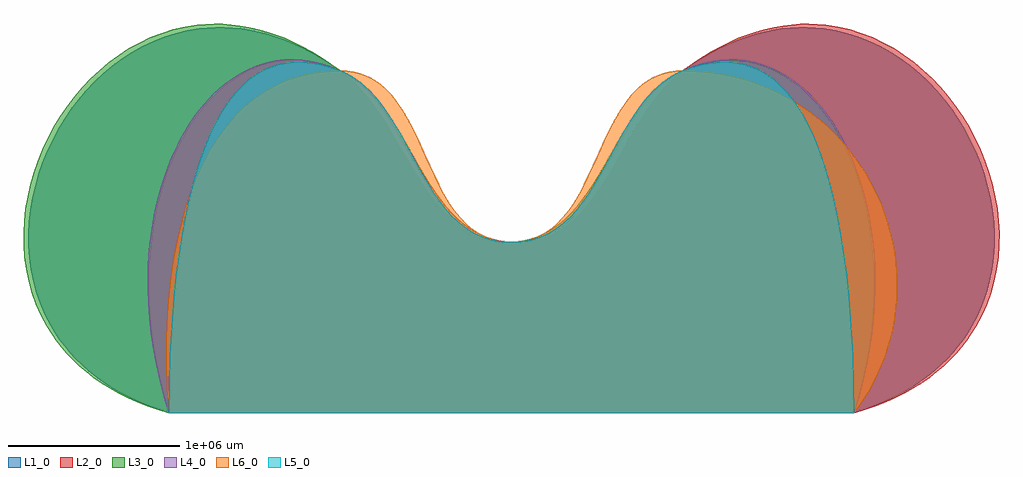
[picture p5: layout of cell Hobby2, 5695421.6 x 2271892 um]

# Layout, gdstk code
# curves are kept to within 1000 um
import gdstk
lib = gdstk.Library(unit=1e-6, precision=1e-07)
def P(c, l, *ps):  # polygons
    for p in ps: c.add(gdstk.Polygon(p, *l))
L1_0 = (1, 0)
L2_0 = (2, 0)
L3_0 = (3, 0)
L4_0 = (4, 0)
L5_0 = (5, 0)
L6_0 = (6, 0)

hobby2 = lib.new_cell('Hobby2')
P(hobby2, L1_0, [(0,0),(-62580.6,20590.8),(-122410.8,42992.5),(-179523.3,67139.6),(-233950.8,92966.9),(-285726,120409),(-334881.4,149400.4),(-381449.9,179876),(-425464,211770.3),(-466956.5,245017.9),(-505960,279553.6),(-542507.3,315311.9),(-576630.9,352227.5),(-608363.6,390235),(-637738,429269.2),(-664786.9,469264.5),(-689542.8,510155.8),(-722449.1,573029.5),(-750380.1,637551.3),(-773446.1,703500.6),(-791757.5,770656.9),(-805424.6,838799.6),(-814557.6,907708.2),(-819266.7,977161.9),(-819662.4,1046940.4),(-815854.9,1116823),(-807954.4,1186589.1),(-796071.3,1256018.2),(-780315.8,1324889.6),(-760798.2,1392982.9),(-737628.9,1460077.4),(-710918,1525952.6),(-680775.9,1590388),(-647312.9,1653162.8),(-610639.3,1714056.6),(-570865.2,1772848.8),(-528101.2,1829318.9),(-482457.3,1883246.1),(-434043.9,1934410.1),(-382971.3,1982590.1),(-329349.8,2027565.7),(-273289.6,2069116.2),(-214901.1,2107021.1),(-154294.5,2141059.9),(-91580.1,2171011.9),(-26868.2,2196656.5),(39730.9,2217773.3),(108107,2234141.6),(178149.7,2245540.8),(225716.2,2250270.8),(273941.8,2252628.9),(322793.8,2252549.9),(372239.5,2249968.2),(422246.1,2244818.7),(472781.1,2237035.9),(523811.7,2226554.5),(575305.4,2213309),(627229.3,2197234.3),(679550.8,2178264.9),(732237.3,2156335.4),(785256,2131380.5),(838574.3,2103334.9),(892159.5,2072133.2),(945979,2037710),(1000000,2000000),(1056758.7,1953952.9),(1109274.3,1902358.7),(1158135.4,1846072.5),(1203930.6,1785949.5),(1268162.6,1690441.8),(1447280.9,1392528.8),(1509082.9,1299048.6),(1541494.4,1255024),(1575244,1213290.9),(1610579.8,1174209.8),(1647750.4,1138141.7),(1687004,1105447.3),(1728588.9,1076487.4),(1757730,1059433.6),(1788091.1,1044306.9),(1819745.9,1031214.1),(1852768,1020262.1),(1887230.8,1011557.8),(1923208.1,1005208),(1960773.3,1001319.8),(2000000,1000000),(2039226.7,1001319.8),(2076791.9,1005208),(2112769.2,1011557.8),(2147232,1020262.1),(2180254.1,1031214.1),(2211908.9,1044306.9),(2242270,1059433.6),(2271411.1,1076487.4),(2312996,1105447.3),(2352249.6,1138141.7),(2389420.2,1174209.8),(2424756,1213290.9),(2458505.6,1255024),(2490917.1,1299048.6),(2552719.1,1392528.8),(2731837.4,1690441.8),(2796069.4,1785949.5),(2841864.6,1846072.5),(2890725.7,1902358.7),(2943241.3,1953952.9),(3000000,2000000),(3054021,2037710),(3107840.5,2072133.2),(3161425.7,2103334.9),(3214744,2131380.5),(3267762.7,2156335.4),(3320449.2,2178264.9),(3372770.7,2197234.3),(3424694.6,2213309),(3476188.3,2226554.5),(3527218.9,2237035.9),(3577753.9,2244818.7),(3627760.5,2249968.2),(3677206.2,2252549.9),(3726058.2,2252628.9),(3774283.8,2250270.8),(3821850.3,2245540.8),(3891893,2234141.6),(3960269.1,2217773.3),(4026868.2,2196656.5),(4091580.1,2171011.9),(4154294.5,2141059.9),(4214901.1,2107021.1),(4273289.6,2069116.2),(4329349.8,2027565.7),(4382971.3,1982590.1),(4434043.9,1934410.1),(4482457.3,1883246.1),(4528101.2,1829318.9),(4570865.2,1772848.8),(4610639.3,1714056.6),(4647312.9,1653162.8),(4680775.9,1590388),(4710918,1525952.6),(4737628.9,1460077.4),(4760798.2,1392982.9),(4780315.8,1324889.6),(4796071.3,1256018.2),(4807954.4,1186589.1),(4815854.9,1116823),(4819662.4,1046940.4),(4819266.7,977161.9),(4814557.6,907708.2),(4805424.6,838799.6),(4791757.5,770656.9),(4773446.1,703500.6),(4750380.1,637551.3),(4722449.1,573029.5),(4689542.8,510155.8),(4664786.9,469264.5),(4637738,429269.2),(4608363.6,390235),(4576630.9,352227.5),(4542507.3,315311.9),(4505960,279553.6),(4466956.5,245017.9),(4425464,211770.3),(4381449.9,179876),(4334881.4,149400.4),(4285726,120409),(4233950.8,92966.9),(4179523.3,67139.6),(4122410.8,42992.5),(4062580.6,20590.8),(4000000,0)])
P(hobby2, L2_0, [(0,0),(-27405.7,93919),(-50998.1,187049.5),(-70866.1,279275.9),(-87098.7,370482.6),(-99784.6,460554.1),(-109012.8,549374.8),(-114872.2,636829.1),(-117451.5,722801.6),(-115365,848729.1),(-106398.5,970672.2),(-90851.8,1088241.2),(-69025.1,1201045.9),(-41218.2,1308696.3),(-7731.1,1410802.5),(11048.7,1459654.6),(52493.7,1552713.2),(75083.7,1596822.1),(123811.6,1679955.6),(149874.4,1718882.6),(205210.3,1791213.4),(234408.5,1824519.7),(264576.7,1855854.9),(295677.5,1885170.4),(327673.4,1912417.3),(360527,1937546.8),(394200.7,1960510.3),(428657,1981259),(463858.5,1999744.2),(499767.6,2015917),(536346.8,2029728.7),(573558.7,2041130.7),(624093.9,2052500.4),(675598.2,2059383.8),(727982.9,2061665.3),(781159,2059229.3),(835037.6,2051960.4),(889529.9,2039742.9),(944547,2022461.3),(1000000,2000000),(1032557.4,1983920.4),(1063607.2,1965831),(1093237.9,1945854.5),(1121537.8,1924113.2),(1174499.3,1875827),(1223198.9,1821952.7),(1257352.4,1778469.6),(1289804.9,1732808.3),(1350800.7,1636605.6),(1465511.4,1436260.7),(1524001.1,1338736.2),(1554574,1292083.5),(1586430.1,1247388.8),(1619867.9,1205065.6),(1655185.9,1165527.4),(1692682.3,1129188),(1732655.7,1096460.9),(1760828.1,1076854),(1790322.4,1059158.9),(1821227,1043498.2),(1853630.4,1029994.4),(1887621,1018770.2),(1923287.2,1009948),(1960717.4,1003650.4),(2000000,1000000),(2039800.7,999105.3),(2077898.5,1000967.7),(2114367.9,1005474.4),(2149283.4,1012512.7),(2182719.6,1021969.5),(2214751,1033732.2),(2245452,1047687.9),(2274897.3,1063723.8),(2316873.6,1091431),(2356443.5,1123183.9),(2393858.6,1158601.6),(2429370.2,1197303.4),(2463230,1238908.4),(2495689.4,1283035.8),(2557413.1,1377334.7),(2735130.3,1681164.9),(2798591.4,1779264.6),(2843810.3,1841149.1),(2892054,1899168.3),(2943918.5,1952419.5),(3000000,2000000),(3054560.5,2039857.8),(3108943.9,2076298.2),(3163115.9,2109389.8),(3217042.5,2139200.6),(3270689.5,2165799),(3324022.7,2189253.2),(3377008.1,2209631.6),(3429611.4,2227002.5),(3481798.6,2241434),(3533535.5,2252994.5),(3584787.9,2261752.3),(3635521.8,2267775.6),(3685702.9,2271132.8),(3735297.2,2271892),(3784270.5,2270121.7),(3832588.6,2265890),(3903762.8,2255076.8),(3973270.8,2239109.7),(4040997.5,2218219.2),(4106827.6,2192635.6),(4170646,2162589.4),(4232337.4,2128311.1),(4291786.5,2090031),(4348878.2,2047979.8),(4403497.2,2002387.7),(4455528.4,1953485.3),(4504856.4,1901503),(4551366.1,1846671.2),(4594942.2,1789220.5),(4635469.6,1729381.1),(4672832.9,1667383.7),(4706917,1603458.5),(4737606.7,1537836.1),(4764786.6,1470747),(4788341.7,1402421.5),(4808156.7,1333090.1),(4824116.3,1262983.3),(4836105.3,1192331.5),(4844008.5,1121365.2),(4847710.8,1050314.7),(4847096.7,979410.6),(4842051.3,908883.3),(4832459.1,838963.2),(4818205,769880.8),(4799173.8,701866.5),(4775250.3,635150.8),(4746319.1,569964.1),(4712265.2,506536.9),(4686659.6,465343.4),(4658692,425102.5),(4628328,385882.7),(4595533.6,347752),(4560274.6,310779),(4522516.9,275031.7),(4482226.4,240578.5),(4439368.8,207487.7),(4393910.2,175827.5),(4345816.2,145666.2),(4295052.9,117072.2),(4241586,90113.7),(4185381.4,64858.9),(4126404.9,41376.2),(4064622.5,19733.8),(4000000,0)])
P(hobby2, L3_0, [(0,0),(-64622.5,19733.8),(-126404.9,41376.2),(-185381.4,64858.9),(-241586,90113.7),(-295052.9,117072.2),(-345816.2,145666.2),(-393910.2,175827.5),(-439368.8,207487.7),(-482226.4,240578.5),(-522516.9,275031.7),(-560274.6,310779),(-595533.6,347752),(-628328,385882.7),(-658692,425102.5),(-686659.6,465343.4),(-712265.2,506536.9),(-746319.1,569964.1),(-775250.3,635150.8),(-799173.8,701866.5),(-818205,769880.8),(-832459.1,838963.2),(-842051.3,908883.3),(-847096.7,979410.6),(-847710.8,1050314.7),(-844008.5,1121365.2),(-836105.3,1192331.5),(-824116.3,1262983.3),(-808156.7,1333090.1),(-788341.7,1402421.5),(-764786.6,1470747),(-737606.7,1537836.1),(-706917,1603458.5),(-672832.9,1667383.7),(-635469.6,1729381.1),(-594942.2,1789220.5),(-551366.1,1846671.2),(-504856.4,1901503),(-455528.4,1953485.3),(-403497.2,2002387.7),(-348878.2,2047979.8),(-291786.5,2090031),(-232337.4,2128311.1),(-170646,2162589.4),(-106827.6,2192635.6),(-40997.5,2218219.2),(26729.2,2239109.7),(96237.2,2255076.8),(167411.4,2265890),(215729.5,2270121.7),(264702.8,2271892),(314297.1,2271132.8),(364478.2,2267775.6),(415212.1,2261752.3),(466464.5,2252994.5),(518201.4,2241434),(570388.6,2227002.5),(622991.9,2209631.6),(675977.3,2189253.2),(729310.5,2165799),(782957.5,2139200.6),(836884.1,2109389.8),(891056.1,2076298.2),(945439.5,2039857.8),(1000000,2000000),(1056081.5,1952419.5),(1107946,1899168.3),(1156189.7,1841149.1),(1201408.6,1779264.6),(1264869.7,1681164.9),(1442586.9,1377334.7),(1504310.6,1283035.8),(1536770,1238908.4),(1570629.8,1197303.4),(1606141.4,1158601.6),(1643556.5,1123183.9),(1683126.4,1091431),(1725102.7,1063723.8),(1754548,1047687.9),(1785249,1033732.2),(1817280.4,1021969.5),(1850716.6,1012512.7),(1885632.1,1005474.4),(1922101.5,1000967.7),(1960199.3,999105.3),(2000000,1000000),(2039282.6,1003650.4),(2076712.8,1009948),(2112379,1018770.2),(2146369.6,1029994.4),(2178773,1043498.2),(2209677.6,1059158.9),(2239171.9,1076854),(2267344.3,1096460.9),(2307317.7,1129188),(2344814.1,1165527.4),(2380132.1,1205065.6),(2413569.9,1247388.8),(2445426,1292083.5),(2475998.9,1338736.2),(2534488.6,1436260.7),(2649199.3,1636605.6),(2710195.1,1732808.3),(2742647.6,1778469.6),(2776801.1,1821952.7),(2825500.7,1875827),(2878462.2,1924113.2),(2906762.1,1945854.5),(2936392.8,1965831),(2967442.6,1983920.4),(3000000,2000000),(3055453,2022461.3),(3110470.1,2039742.9),(3164962.4,2051960.4),(3218841,2059229.3),(3272017.1,2061665.3),(3324401.8,2059383.8),(3375906.1,2052500.4),(3426441.3,2041130.7),(3463653.2,2029728.7),(3500232.4,2015917),(3536141.5,1999744.2),(3571343,1981259),(3605799.3,1960510.3),(3639473,1937546.8),(3672326.6,1912417.3),(3704322.5,1885170.4),(3735423.3,1855854.9),(3765591.5,1824519.7),(3794789.7,1791213.4),(3850125.6,1718882.6),(3901131.1,1639252.5),(3947506.3,1552713.2),(3988951.3,1459654.6),(4007731.1,1410802.5),(4041218.2,1308696.3),(4069025.1,1201045.9),(4090851.8,1088241.2),(4106398.5,970672.2),(4115365,848729.1),(4117451.5,722801.6),(4114872.2,636829.1),(4109012.8,549374.8),(4099784.6,460554.1),(4087098.7,370482.6),(4070866.1,279275.9),(4050998.1,187049.5),(4027405.7,93919),(4000000,0)])
P(hobby2, L4_0, [(0,0),(-28674.7,94981),(-53380.9,189116.6),(-74214.5,282291.3),(-91271.6,374389.9),(-104648.2,465296.9),(-114440.3,554897),(-120743.8,643074.9),(-123654.7,729715.1),(-123669.4,793616.9),(-121870.2,856540.1),(-112992.4,979256.4),(-97345.4,1097474.9),(-87084.7,1154775.7),(-61891.3,1265517.2),(-30738.7,1370787.3),(-13028.9,1421249),(26455,1517582.2),(48148.2,1563356.3),(95234.6,1649876.5),(120546.7,1690525.1),(174506.5,1766356.1),(203073.1,1801441.2),(232643.5,1834574.4),(263177.2,1865707.1),(294633.7,1894790.6),(326972.6,1921776.2),(360153.3,1946615.3),(394135.3,1969259.2),(428878.1,1989659.2),(464341.3,2007766.7),(500484.3,2023533),(537266.6,2036909.4),(574647.7,2047847.3),(625350.7,2058553.7),(676950.3,2064723),(729350.4,2066239.9),(782455.2,2062989),(836168.5,2054854.9),(890394.4,2041722.3),(945036.9,2023475.8),(1000000,2000000),(1032124,1983319),(1062739.4,1964577.7),(1091936.4,1943905.2),(1119805.2,1921430.4),(1171919.3,1871589.8),(1219804.1,1816087.6),(1253376.5,1771366.2),(1285280.6,1724475.8),(1345302.8,1625929.3),(1458732.6,1421960.5),(1517014.5,1323502.7),(1547613.4,1276678.9),(1579590.6,1232038.8),(1613250.5,1190017.8),(1648897.9,1151051.2),(1686837.4,1115574.1),(1727373.7,1084021.9),(1755990.9,1065382.5),(1785987.9,1048810),(1817455,1034433.2),(1850482.3,1022381.2),(1885160.2,1012782.9),(1921579,1005767.2),(1959828.8,1001463.3),(2000000,1000000),(2040171.2,1001463.3),(2078421,1005767.2),(2114839.8,1012782.9),(2149517.7,1022381.2),(2182545,1034433.2),(2214012.1,1048810),(2244009.1,1065382.5),(2272626.3,1084021.9),(2313162.6,1115574.1),(2351102.1,1151051.2),(2386749.5,1190017.8),(2420409.4,1232038.8),(2452386.6,1276678.9),(2482985.5,1323502.7),(2541267.4,1421960.5),(2654697.2,1625929.3),(2714719.4,1724475.8),(2746623.5,1771366.2),(2780195.9,1816087.6),(2828080.7,1871589.8),(2880194.8,1921430.4),(2908063.6,1943905.2),(2937260.6,1964577.7),(2967876,1983319),(3000000,2000000),(3054963.1,2023475.8),(3109605.6,2041722.3),(3163831.5,2054854.9),(3217544.8,2062989),(3270649.6,2066239.9),(3323049.7,2064723),(3374649.3,2058553.7),(3425352.3,2047847.3),(3462733.4,2036909.4),(3499515.7,2023533),(3535658.7,2007766.7),(3571121.9,1989659.2),(3605864.7,1969259.2),(3639846.7,1946615.3),(3673027.4,1921776.2),(3705366.3,1894790.6),(3736822.8,1865707.1),(3767356.5,1834574.4),(3796926.9,1801441.2),(3825493.5,1766356.1),(3879453.3,1690525.1),(3928911.8,1607470.6),(3973545,1517582.2),(4013028.9,1421249),(4030738.7,1370787.3),(4061891.3,1265517.2),(4075253.1,1210806),(4097345.4,1097474.9),(4105994.8,1038952.2),(4118297.7,918436.2),(4121870.2,856540.1),(4123654.7,729715.1),(4120743.8,643074.9),(4114440.3,554897),(4104648.2,465296.9),(4091271.6,374389.9),(4074214.5,282291.3),(4053380.9,189116.6),(4028674.7,94981),(4000000,0)])
P(hobby2, L5_0, [(0,0),(1688.4,171491.6),(6924.3,342265.4),(15964.1,511186.7),(29064.1,677121.1),(41707.8,798929.1),(56887.7,917940),(74711.8,1033675.2),(95288.4,1145656),(118725.6,1253403.7),(145131.4,1356439.8),(174614.1,1454285.4),(207281.7,1546462),(243242.4,1632490.9),(282604.3,1711893.5),(325475.5,1784191),(371964.2,1848904.9),(396598.9,1878268.3),(422178.5,1905556.4),(448716.6,1930709.2),(476226.6,1953666.9),(504722.1,1974369.7),(534216.5,1992757.7),(564723.5,2008771.2),(596256.4,2022350.3),(639919.8,2036565.4),(685463.2,2046204.5),(732918.8,2051125.7),(782318.5,2051187.3),(833694.5,2046247.3),(887078.7,2036164),(942503.2,2020795.5),(1000000,2000000),(1033121.1,1985164.8),(1064619.1,1968082.4),(1094589.3,1948889.2),(1123126.9,1927721.3),(1150327.3,1904715.1),(1176285.7,1880006.8),(1224857.3,1826028.8),(1258734.2,1782090.6),(1290781,1735702.2),(1350670.4,1637414.1),(1462633.9,1431668.7),(1519851.8,1331569),(1549895.1,1283821.9),(1581323.2,1238223),(1614457.7,1195232.2),(1649620,1155309.5),(1687131.6,1118914.5),(1727314,1086507.2),(1755744.9,1067344.8),(1785600.9,1050295.3),(1816977.3,1035495),(1849969.5,1023080.1),(1884672.5,1013187),(1921181.8,1005951.7),(1959592.5,1001510.6),(2000000,1000000),(2040407.5,1001510.6),(2078818.2,1005951.7),(2115327.5,1013187),(2150030.5,1023080.1),(2183022.7,1035495),(2214399.1,1050295.3),(2244255.1,1067344.8),(2272686,1086507.2),(2312868.4,1118914.5),(2350380,1155309.5),(2385542.3,1195232.2),(2418676.8,1238223),(2450104.9,1283821.9),(2480148.2,1331569),(2537366.1,1431668.7),(2649329.6,1637414.1),(2709219,1735702.2),(2741265.8,1782090.6),(2775142.7,1826028.8),(2823714.3,1880006.8),(2849672.7,1904715.1),(2876873.1,1927721.3),(2905410.7,1948889.2),(2935380.9,1968082.4),(2966878.9,1985164.8),(3000000,2000000),(3057496.8,2020795.5),(3112921.3,2036164),(3166305.5,2046247.3),(3217681.5,2051187.3),(3267081.2,2051125.7),(3314536.8,2046204.5),(3360080.2,2036565.4),(3403743.6,2022350.3),(3435276.5,2008771.2),(3465783.5,1992757.7),(3495277.9,1974369.7),(3523773.4,1953666.9),(3551283.4,1930709.2),(3577821.5,1905556.4),(3603401.1,1878268.3),(3628035.8,1848904.9),(3651739.1,1817525.8),(3696405.6,1748960.3),(3717395.7,1711893.5),(3756757.6,1632490.9),(3792718.3,1546462),(3825385.9,1454285.4),(3854868.6,1356439.8),(3881274.4,1253403.7),(3904711.6,1145656),(3925288.2,1033675.2),(3943112.3,917940),(3958292.2,798929.1),(3970935.9,677121.1),(3984035.9,511186.7),(3993075.7,342265.4),(3998311.6,171491.6),(4000000,0)])
P(hobby2, L6_0, [(0,0),(-10532.9,146649.9),(-15621.9,293211),(-15112.4,438879.5),(-8849.8,582851.9),(-284.2,689234.7),(11669.9,793872.4),(27077.6,896426),(46004.2,996556.4),(68515.1,1093924.7),(94675.3,1188191.8),(124550.3,1279018.6),(158205.2,1366066.3),(195705.3,1448995.7),(237115.8,1527467.8),(282502,1601143.7),(331929.2,1669684.2),(385462.6,1732750.4),(443167.4,1790003.3),(505108.9,1841103.8),(571352.4,1885713),(617936.9,1911678.6),(666481.7,1934508.1),(717006.2,1954101),(769529.7,1970356.8),(824071.4,1983175),(880650.9,1992455.3),(939287.3,1998097.1),(1000000,2000000),(1040210.3,1998156.2),(1078080.5,1992750),(1113733.9,1983968.8),(1147293.5,1972000),(1178882.6,1957031.2),(1208624.2,1939250),(1236641.7,1918843.8),(1263058,1896000),(1299949.9,1857574.2),(1333932.1,1814718.8),(1365420.4,1768066.4),(1394830.3,1718250),(1422577.6,1665902.3),(1449077.8,1611656.2),(1550922.2,1388343.8),(1605169.7,1281750),(1634579.6,1231933.6),(1666067.9,1185281.2),(1700050.1,1142425.8),(1736942,1104000),(1763358.3,1081156.2),(1791375.8,1060750),(1821117.4,1042968.8),(1852706.5,1028000),(1886266.1,1016031.2),(1921919.5,1007250),(1959789.7,1001843.8),(2000000,1000000),(2040210.3,1001843.8),(2078080.5,1007250),(2113733.9,1016031.2),(2147293.5,1028000),(2178882.6,1042968.8),(2208624.2,1060750),(2236641.7,1081156.2),(2263058,1104000),(2299949.9,1142425.8),(2333932.1,1185281.2),(2365420.4,1231933.6),(2394830.3,1281750),(2449077.8,1388343.7),(2550922.2,1611656.2),(2577422.4,1665902.3),(2605169.7,1718250),(2634579.6,1768066.4),(2666067.9,1814718.8),(2700050.1,1857574.2),(2736942,1896000),(2763358.3,1918843.8),(2791375.8,1939250),(2821117.4,1957031.2),(2852706.5,1972000),(2886266.1,1983968.8),(2921919.5,1992750),(2959789.7,1998156.2),(3000000,2000000),(3076413.4,1997819),(3151097.4,1991371.3),(3223980.4,1980800.3),(3294990.7,1966249.2),(3364056.7,1947861.2),(3431106.9,1925779.6),(3496069.5,1900147.6),(3558873,1871108.4),(3604515.6,1847179.2),(3648873.3,1821474.4),(3691915.6,1794054.6),(3733612.6,1764980.1),(3773933.9,1734311.3),(3812849.3,1702108.7),(3850328.7,1668432.8),(3886341.7,1633343.8),(3920858.3,1596902.4),(3953848.1,1559168.8),(4015126.8,1480067),(4069936,1396521.9),(4118034,1309017),(4159179.1,1218035.6),(4193129.7,1124061.2),(4219643.9,1027577.2),(4238480.1,929067.1),(4244943.4,879203.3),(4249396.6,829014.2),(4251809.4,778560.3),(4252151.6,727902),(4250393.1,677099.8),(4246503.5,626213.9),(4240452.7,575305),(4232210.5,524433.4),(4217759.8,456767.1),(4199287.8,389417.7),(4176723,322528.6),(4149993.8,256243),(4119028.5,190704.1),(4083755.5,126055.1),(4044103.2,62439.4),(4000000,0)])

lib.write_gds('Hobby2.gds')
